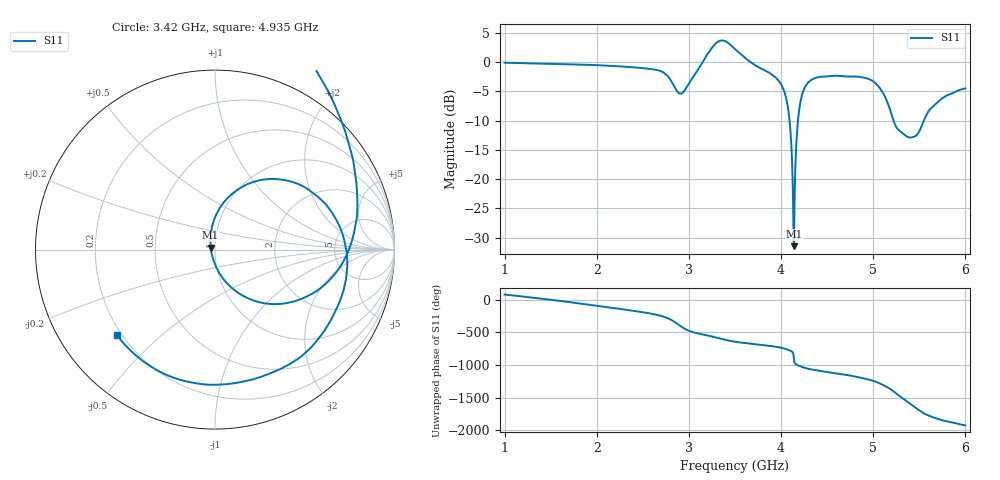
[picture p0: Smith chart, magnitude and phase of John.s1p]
!Agilent Technologies,E8364B,MY43040633,A.07.50.37
!Agilent E8364B: A.07.50.37
!Date: Tuesday, December 16, 2025 17:30:23
!Correction: S11(Full 1 Port(1))
!S1P File: Measurement: S11:
# Hz S  RI  R 50
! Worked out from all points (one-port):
!   1001 points, 1 GHz to 6 GHz, reference 50 ohm
!   lowest |S11| = -31.4 dB at 4.14 GHz (marker M1), VSWR 1.05, Z = 47.6 + j1.07 ohm
!   |S11| at or under -10 dB: 4.092 GHz to 4.183 GHz (91.51 MHz wide, 2.21 % of centre); 5.22 GHz to 5.55 GHz (329.4 MHz wide, 6.12 % of centre)
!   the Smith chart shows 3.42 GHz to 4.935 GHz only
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1e9  0.221 0.9624
1.355e9  0.9029 0.3584
1.625e9  0.8699 -0.4067
1.945e9  0.0885 -0.9421
2.25e9  -0.7384 -0.5475
2.51e9  -0.8539 0.2422
2.71e9  -0.2165 0.7995
2.785e9  0.3099 0.6649
2.875e9  0.5481 -0.1118
3.01e9  -0.3593 -0.5708
3.235e9  -1.2 0.4366
3.375e9  -0.5553 1.418
3.5e9  0.3454 1.246
3.885e9  0.7837 0.1435
4.055e9  0.3908 -0.2993
4.125e9  0.00734 -0.0999
4.14e9  -0.0243 0.0112
4.22e9  0.3044 0.3934
4.39e9  0.7368 -0.0518
4.75e9  0.0909 -0.7467
4.995e9  -0.6559 -0.2106
5.13e9  -0.2209 0.4507
5.24e9  0.281 0.0648
5.375e9  -0.1428 -0.1796
5.53e9  0.0767 0.2802
5.68e9  0.421 -0.1326
5.835e9  0.1396 -0.5142
6e9  -0.3554 -0.4767
